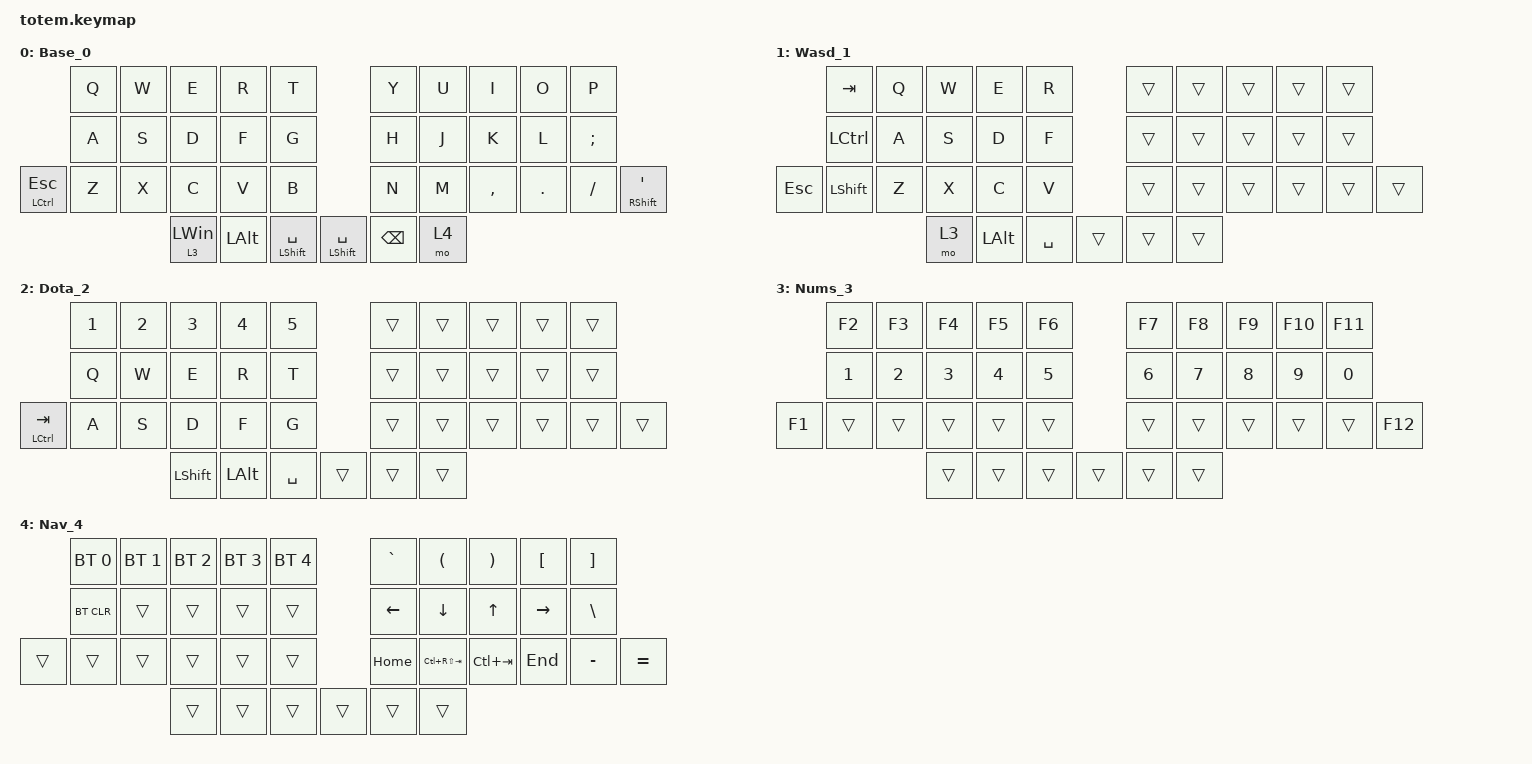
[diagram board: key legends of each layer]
//
//                                                        ▀▀▀▀▀     ▀▀▀▀▀          ▀▀█▀▀
//                                                        ▄▀▀▀▄  ▄  ▄▀▀▀▄  ▄  ▄▀▀▀▄  █  ▄▀▀▀▄
//                                                        █   █  █  █   █  █  █   █  █  █   █
//                                                         ▀▀▀   █   ▀▀▀   █   ▀▀▀   ▀   ▀▀▀
//                                                               █      ▄▄▄█▄▄▄    █   █  
//                                                               ▀      █  █  █     █▄█
//                                                             ▀▀▀▀▀    █  █  █      ▀
//                                                                      ▀  ▀  ▀
//
// ▄▄▄▄▄▄▄▄▄▄▄▄▄▄▄▄▄▄▄▄▄▄▄▄▄▄▄▄▄▄▄▄▄▄▄▄▄▄▄▄▄▄▄▄▄▄▄▄▄▄▄▄▄▄▄▄▄▄▄▄▄▄▄▄▄▄▄▄▄▄▄▄▄▄▄▄▄▄▄▄▄▄▄▄▄▄▄▄▄▄▄▄▄▄▄▄▄▄▄▄▄▄▄▄▄▄▄▄▄▄▄▄▄▄▄▄▄▄▄▄▄▄▄▄▄▄▄▄▄▄▄▄▄▄▄▄▄▄▄▄▄▄▄▄▄▄▄▄▄

#include <behaviors.dtsi>
#include <dt-bindings/zmk/bt.h>
#include <dt-bindings/zmk/keys.h>

// Layer indices, for reference only. Bindings use the raw numbers because the
// keymap editor doesn't resolve preprocessor macros.
#define L_BASE      0
#define L_WASD      1
#define L_DOTA      2
#define L_NUM       3
#define L_NAV       4

&lt {
    tapping-term-ms = <240>;
    flavor = "balanced";
    quick-tap-ms = <150>;
};

/ {
    behaviors {
        hm: homerow_mods {
            compatible = "zmk,behavior-hold-tap";
            label = "HOMEROW_MODS";
            #binding-cells = <2>;
            flavor = "tap-preferred";
            tapping-term-ms = <200>;
            quick-tap-ms = <125>;
            bindings = <&kp>, <&kp>;
        };

        gm: gaming_mod_tap {
            compatible = "zmk,behavior-hold-tap";
            #binding-cells = <2>;
            flavor = "hold-preferred";
            tapping-term-ms = <200>;
            bindings = <&kp>, <&kp>;
        };
    };

    combos {
        compatible = "zmk,combos";

        enter {
            bindings = <&kp ENTER>;
            key-positions = <18 19>;
        };

        dota_layer {
            bindings = <&to 2>;
            key-positions = <7 8 9>;
            timeout-ms = <300>;
            layers = <4>;
        };

        base_layer {
            bindings = <&to 0>;
            key-positions = <30 28 29>;
        };

        f3-dota {
            bindings = <&kp F3>;
            key-positions = <32 23>;
            layers = <2>;
            require-prior-idle-ms = <150>;
        };

        f4-dota {
            bindings = <&kp F4>;
            key-positions = <23 33>;
            layers = <2>;
            require-prior-idle-ms = <150>;
        };

        TAB_as {
            bindings = <&kp TAB>;
            key-positions = <10 11>;
            layers = <0>;
            require-prior-idle-ms = <150>;
        };

        wasd {
            bindings = <&to 1>;
            key-positions = <17 18 19>;
            timeout-ms = <300>;
            layers = <4>;
        };
    };

    keymap {
        compatible = "zmk,keymap";

        Base {
            label = "Base_0";
            bindings = <
                  &kp Q  &kp W  &kp E           &kp R         &kp T                       &kp Y                     &kp U     &kp I      &kp O    &kp P
                  &kp A  &kp S  &kp D           &kp F         &kp G                       &kp H                     &kp J     &kp K      &kp L    &kp SEMI
&hm LCTRL ESCAPE  &kp Z  &kp X  &kp C           &kp V         &kp B                       &kp N                     &kp M     &kp COMMA  &kp DOT  &kp FSLH  &hm RIGHT_SHIFT APOSTROPHE
                                &lt 3 LEFT_WIN  &kp LEFT_ALT  &hm LSHIFT SPACE    &hm LSHIFT SPACE  &kp BSPC  &mo 4
            >;
        };

        WASD {
            label = "Wasd_1";
            bindings = <
            &kp TAB     &kp Q  &kp W  &kp E         &kp R        &trans  &trans  &trans  &trans  &trans
            &kp LCTRL   &kp A  &kp S  &kp D         &kp F        &trans  &trans  &trans  &trans  &trans
&kp ESCAPE  &kp LSHIFT  &kp Z  &kp X  &kp C         &kp V        &trans  &trans  &trans  &trans  &trans  &trans
                               &mo 3  &kp LEFT_ALT  &kp SPACE    &trans  &trans  &trans
            >;
        };

        Dota {
            bindings = <
               &kp N1  &kp N2  &kp N3     &kp N4        &kp N5       &trans  &trans  &trans  &trans  &trans
               &kp Q   &kp W   &kp E      &kp R         &kp T        &trans  &trans  &trans  &trans  &trans
&gm LCTRL TAB  &kp A   &kp S   &kp D      &kp F         &kp G        &trans  &trans  &trans  &trans  &trans  &trans
                               &kp LSHFT  &kp LEFT_ALT  &kp SPACE    &trans  &trans  &trans
            >;

            label = "Dota_2";
        };

        Numbers_Functions {
            label = "Nums_3";
            bindings = <
        &kp F2  &kp F3  &kp F4  &kp F5  &kp F6    &kp F7  &kp F8  &kp F9  &kp F10  &kp F11
        &kp N1  &kp N2  &kp N3  &kp N4  &kp N5    &kp N6  &kp N7  &kp N8  &kp N9   &kp N0
&kp F1  &trans  &trans  &trans  &trans  &trans    &trans  &trans  &trans  &trans   &trans   &kp F12
                        &trans  &trans  &trans    &trans  &trans  &trans
            >;
        };

        Nav_Shortcuts {
            label = "Nav_4";
            bindings = <
        &bt BT_SEL 0  &bt BT_SEL 1  &bt BT_SEL 2  &bt BT_SEL 3  &bt BT_SEL 4    &kp GRAVE  &kp LEFT_PARENTHESIS  &kp RIGHT_PARENTHESIS  &kp LEFT_BRACKET  &kp RIGHT_BRACKET
        &bt BT_CLR    &trans        &trans        &trans        &trans          &kp LEFT   &kp DOWN              &kp UP                 &kp RIGHT         &kp BACKSLASH
&trans  &trans        &trans        &trans        &trans        &trans          &kp HOME   &kp LC(RS(TAB))       &kp LC(TAB)            &kp END           &kp MINUS          &kp EQUAL
                                    &trans        &trans        &trans          &trans     &trans                &trans
            >;
        };
    };
};
